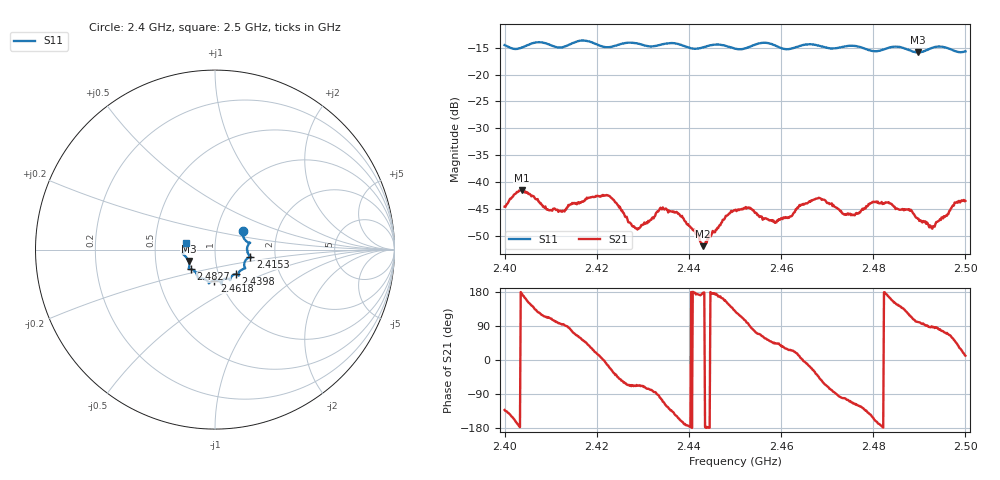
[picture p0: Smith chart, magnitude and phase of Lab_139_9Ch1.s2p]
# Hz S RI R 50
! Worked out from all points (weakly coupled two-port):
!   601 points, 2.4 GHz to 2.5 GHz, reference 50 ohm
!   highest |S21| = -41.46 dB at 2.4037 GHz (marker M1); lowest = -51.9 dB at 2.443 GHz (marker M2)
!   lowest |S11| = -15.9 dB at 2.4897 GHz (marker M3), VSWR 1.38, Z = 36.9 - j4.82 ohm
!   |S11| at or under -10 dB: start of sweep to end of sweep
!   S12 and S22 are empty: the file has one direction only
!   S11 on the Smith chart (normalised r, x): 2.4 GHz: 1.33, +0.29; 2.4153 GHz: 1.48, -0.12; 2.4398 GHz: 1.21, -0.34; 2.4618 GHz: 0.94, -0.33; 2.4827 GHz: 0.75, -0.17; 2.5 GHz: 0.72, +0.06
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2.4e9  0.1549 0.1063  -0.00396 -0.00441  0 0  0 0
2.403667e9  0.1703 0.0512  -0.00844 0.000521  0 0  0 0
2.409667e9  0.1876 0.0303  -0.00201 0.00509  0 0  0 0
2.415333e9  0.1966 -0.0391  0.00237 0.00585  0 0  0 0
2.416667e9  0.2026 -0.0431  0.00371 0.0054  0 0  0 0
2.4225e9  0.1651 -0.0703  0.00729 -0.00195  0 0  0 0
2.428833e9  0.1632 -0.1058  0.00138 -0.00336  0 0  0 0
2.433333e9  0.1302 -0.1341  -0.000256 -0.00534  0 0  0 0
2.437333e9  0.1309 -0.1431  -0.00449 -0.00282  0 0  0 0
2.439833e9  0.1152 -0.1364  -0.00406 -0.000463  0 0  0 0
2.443e9  0.0884 -0.1549  -0.00254 0.000147  0 0  0 0
2.45e9  0.0649 -0.1618  -0.00346 0.00427  0 0  0 0
2.453167e9  0.0374 -0.1771  -5.44e-05 0.00572  0 0  0 0
2.4585e9  0.0345 -0.185  0.00299 0.00307  0 0  0 0
2.461833e9  -0.00314 -0.1727  0.00427 0.00213  0 0  0 0
2.466667e9  -0.0346 -0.1879  0.00621 -0.00257  0 0  0 0
2.4755e9  -0.094 -0.1596  -0.00188 -0.00458  0 0  0 0
2.482667e9  -0.1351 -0.109  -0.00649 0.000515  0 0  0 0
2.483333e9  -0.1404 -0.1085  -0.00637 0.00142  0 0  0 0
2.489667e9  -0.1474 -0.0637  -0.000817 0.00451  0 0  0 0
2.493e9  -0.1762 -0.0264  0.000174 0.00391  0 0  0 0
2.5e9  -0.1594 0.0389  0.00658 0.00132  0 0  0 0
